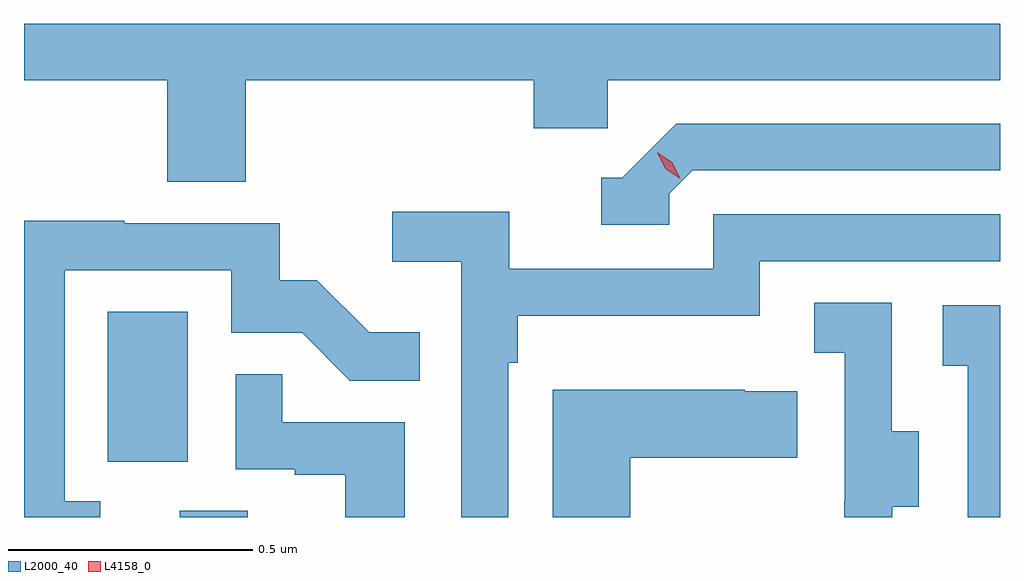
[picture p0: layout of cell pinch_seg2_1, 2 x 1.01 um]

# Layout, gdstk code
import gdstk
lib = gdstk.Library(unit=1e-6, precision=1e-09)
def R(c, l, rs):  # rectangles x0, y0, x1, y1
    for r in rs: c.add(gdstk.rectangle(r[:2], r[2:], *l))
def P(c, l, *ps):  # polygons
    for p in ps: c.add(gdstk.Polygon(p, *l))
L2000_40 = (2000, 40)
L4158_0 = (4158, 0)

pinch_seg2_1 = lib.new_cell('pinch_seg2_1')
R(pinch_seg2_1, L2000_40, [(1130.057,665.388,1130.197,665.402), (1129.91,665.502,1130.074,665.809)])
P(pinch_seg2_1, L2000_40, [(1130.192,666.284),(1130.783,666.284),(1130.783,666.186),(1130.934,666.186),(1130.934,666.284),(1131.738,666.284),(1131.738,666.4),(1129.738,666.4),(1129.738,666.284),(1130.032,666.284),(1130.032,666.076),(1130.192,666.076)],
  [(1131.06,666.051),(1131.108,666.099),(1131.738,666.099),(1131.738,666.195),(1131.075,666.195),(1130.964,666.084),(1130.921,666.084),(1130.921,665.988),(1131.06,665.988)],
  [(1130.73,665.705),(1130.75,665.705),(1130.75,665.801),(1131.246,665.801),(1131.246,665.913),(1131.738,665.913),(1131.738,666.009),(1131.15,666.009),(1131.15,665.898),(1130.732,665.898),(1130.732,666.014),(1130.493,666.014),(1130.493,665.912),(1130.634,665.912),(1130.634,665.388),(1130.73,665.388)],
  [(1129.894,665.421),(1129.821,665.421),(1129.821,665.895),(1130.163,665.895),(1130.163,665.766),(1130.308,665.766),(1130.406,665.668),(1130.549,665.668),(1130.549,665.767),(1130.445,665.767),(1130.338,665.874),(1130.262,665.874),(1130.262,665.991),(1129.943,665.991),(1129.943,665.996),(1129.738,665.996),(1129.738,665.388),(1129.894,665.388)],
  [(1131.517,665.41),(1131.571,665.41),(1131.571,665.565),(1131.516,665.565),(1131.516,665.828),(1131.357,665.828),(1131.357,665.725),(1131.42,665.725),(1131.42,665.421),(1131.419,665.421),(1131.419,665.388),(1131.517,665.388)],
  [(1131.738,665.823),(1131.621,665.823),(1131.621,665.699),(1131.672,665.699),(1131.672,665.388),(1131.738,665.388)],
  [(1130.518,665.583),(1130.267,665.583),(1130.267,665.681),(1130.172,665.681),(1130.172,665.487),(1130.293,665.487),(1130.293,665.475),(1130.396,665.475),(1130.396,665.388),(1130.518,665.388)],
  [(1130.98,665.51),(1131.323,665.51),(1131.323,665.647),(1131.215,665.647),(1131.215,665.65),(1130.822,665.65),(1130.822,665.388),(1130.98,665.388)])
P(pinch_seg2_1, L4158_0, [(1131.082,666.083),(1131.052,666.103),(1131.036,666.136),(1131.036,666.136),(1131.036,666.136),(1131.066,666.116),(1131.082,666.084),(1131.082,666.083)])

lib.write_gds('pinch_seg2_1.gds')
